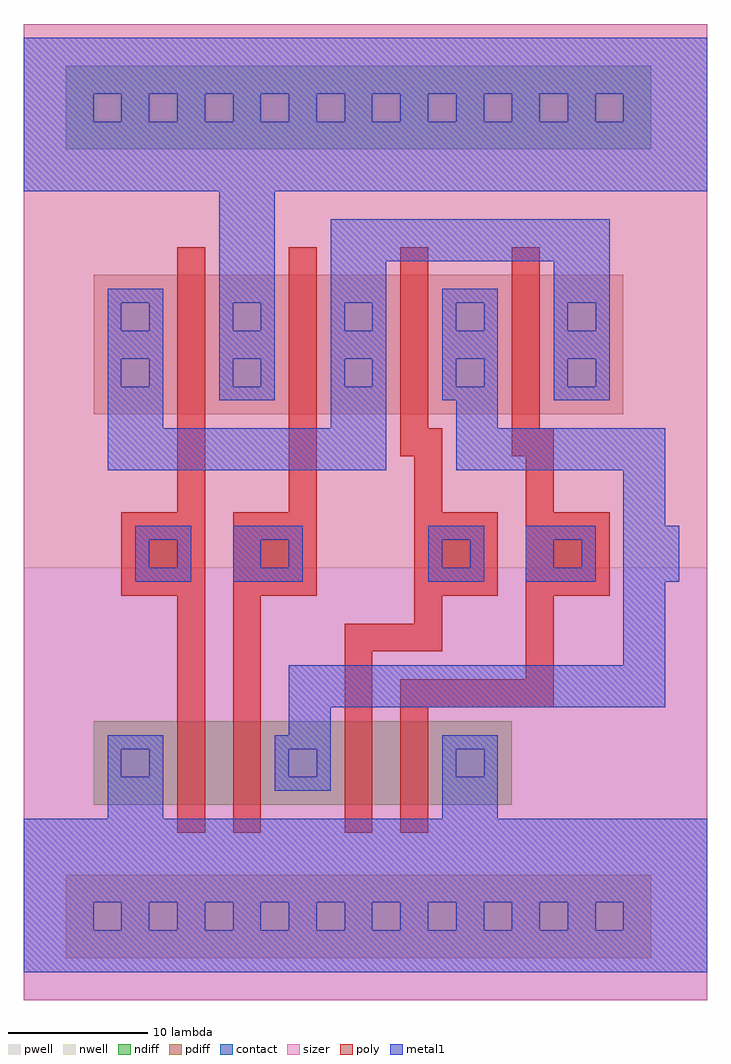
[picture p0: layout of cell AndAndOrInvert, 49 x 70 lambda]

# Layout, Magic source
magic
tech LibreSilicon-test000-concept-mg-70-7
<< sizer >>
rect 0 0 49 70
<< metal1 >>
rect 0 65 49 69
rect 0 63 5 65
rect 7 63 9 65
rect 11 63 13 65
rect 15 63 17 65
rect 19 63 21 65
rect 23 63 25 65
rect 27 63 29 65
rect 31 63 33 65
rect 35 63 37 65
rect 39 63 41 65
rect 43 63 49 65
rect 0 58 49 63
rect 14 50 18 58
rect 22 53 42 56
rect 22 50 26 53
rect 38 50 42 53
rect 6 50 10 51
rect 30 50 34 51
rect 6 48 7 50
rect 9 48 10 50
rect 14 48 15 50
rect 17 48 18 50
rect 22 48 23 50
rect 25 48 26 50
rect 30 48 31 50
rect 33 48 34 50
rect 38 48 39 50
rect 41 48 42 50
rect 6 46 10 48
rect 14 46 18 48
rect 22 46 26 48
rect 30 46 34 48
rect 38 46 42 48
rect 6 44 7 46
rect 9 44 10 46
rect 14 44 15 46
rect 17 44 18 46
rect 22 44 23 46
rect 25 44 26 46
rect 30 44 31 46
rect 33 44 34 46
rect 38 44 39 46
rect 41 44 42 46
rect 6 41 10 44
rect 14 43 18 44
rect 22 41 26 44
rect 30 43 34 44
rect 38 43 42 44
rect 31 41 34 43
rect 6 38 26 41
rect 31 38 46 41
rect 43 34 46 38
rect 8 33 12 34
rect 15 33 20 34
rect 29 33 33 34
rect 36 33 41 34
rect 43 30 47 34
rect 8 31 9 33
rect 11 31 12 33
rect 15 31 17 33
rect 19 31 20 33
rect 29 31 30 33
rect 32 31 33 33
rect 36 31 38 33
rect 40 31 41 33
rect 8 30 12 31
rect 15 30 20 31
rect 29 30 33 31
rect 36 30 41 31
rect 43 24 46 30
rect 19 21 46 24
rect 19 19 22 21
rect 6 18 10 19
rect 18 18 22 19
rect 30 18 34 19
rect 6 16 7 18
rect 9 16 10 18
rect 18 16 19 18
rect 21 16 22 18
rect 30 16 31 18
rect 33 16 34 18
rect 6 13 10 16
rect 18 15 22 16
rect 30 13 34 16
rect 0 7 49 13
rect 0 5 5 7
rect 7 5 9 7
rect 11 5 13 7
rect 15 5 17 7
rect 19 5 21 7
rect 23 5 25 7
rect 27 5 29 7
rect 31 5 33 7
rect 35 5 37 7
rect 39 5 41 7
rect 43 5 49 7
rect 0 2 49 5
<< contact >>
rect 5 63 7 65
rect 9 63 11 65
rect 13 63 15 65
rect 17 63 19 65
rect 21 63 23 65
rect 25 63 27 65
rect 29 63 31 65
rect 33 63 35 65
rect 37 63 39 65
rect 41 63 43 65
rect 7 48 9 50
rect 15 48 17 50
rect 23 48 25 50
rect 31 48 33 50
rect 39 48 41 50
rect 7 44 9 46
rect 15 44 17 46
rect 23 44 25 46
rect 31 44 33 46
rect 39 44 41 46
rect 9 31 11 33
rect 17 31 19 33
rect 30 31 32 33
rect 38 31 40 33
rect 7 16 9 18
rect 19 16 21 18
rect 31 16 33 18
rect 5 5 7 7
rect 9 5 11 7
rect 13 5 15 7
rect 17 5 19 7
rect 21 5 23 7
rect 25 5 27 7
rect 29 5 31 7
rect 33 5 35 7
rect 37 5 39 7
rect 41 5 43 7
<< poly >>
rect 11 35 13 54
rect 19 35 21 54
rect 27 41 29 54
rect 35 41 37 54
rect 27 39 30 41
rect 35 39 38 41
rect 28 35 30 39
rect 36 35 38 39
rect 7 29 13 35
rect 15 29 21 35
rect 28 29 34 35
rect 36 29 42 35
rect 11 12 13 29
rect 15 12 17 29
rect 28 27 30 29
rect 36 23 38 29
rect 23 25 30 27
rect 23 12 25 25
rect 27 21 38 23
rect 27 12 29 21
<< ndiff >>
rect 3 61 45 67
rect 5 14 35 20
<< pdiff >>
rect 5 42 43 52
rect 3 3 45 9
<< nwell >>
rect 0 31 49 70
<< pwell >>
rect 0 0 49 31
<< end >>
